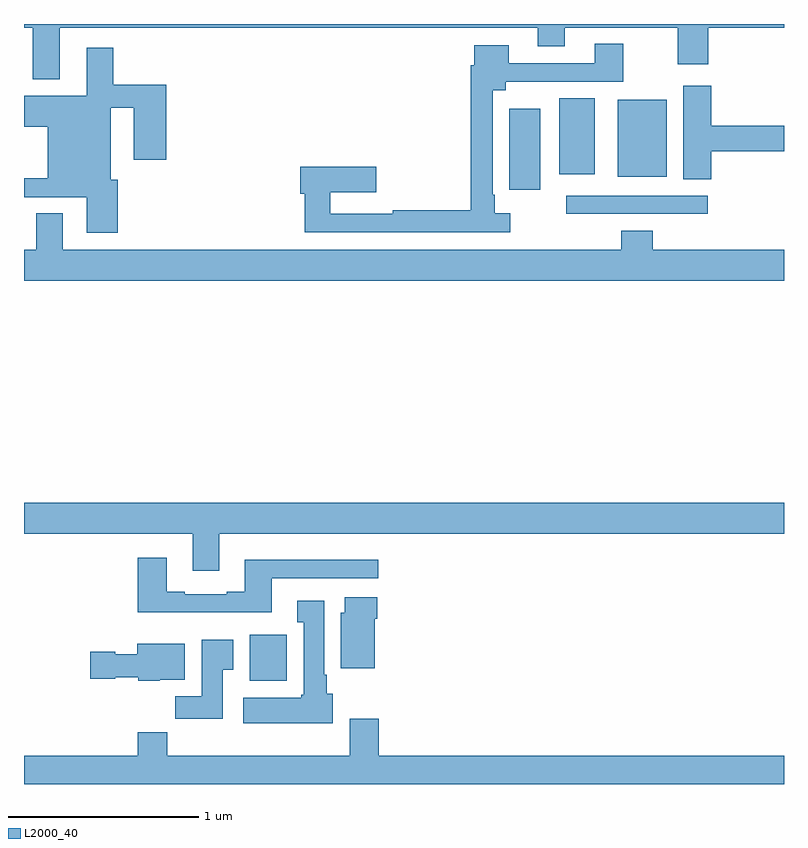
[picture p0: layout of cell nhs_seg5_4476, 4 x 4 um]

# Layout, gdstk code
import gdstk
lib = gdstk.Library(unit=1e-6, precision=1e-09)
def R(c, l, rs):  # rectangles x0, y0, x1, y1
    for r in rs: c.add(gdstk.rectangle(r[:2], r[2:], *l))
def P(c, l, *ps):  # polygons
    for p in ps: c.add(gdstk.Polygon(p, *l))
L2000_40 = (2000, 40)

nhs_seg5_4476 = lib.new_cell('nhs_seg5_4476')
R(nhs_seg5_4476, L2000_40, [(376.187,833.342,376.384,833.584), (377.853,835.8,378.598,835.896), (377.555,835.926,377.716,836.353), (378.125,835.994,378.382,836.401), (377.816,836.009,378.004,836.407)])
P(nhs_seg5_4476, L2000_40, [(375.187,836.78),(377.705,836.78),(377.705,836.681),(377.845,836.681),(377.845,836.78),(378.442,836.78),(378.442,836.586),(378.602,836.586),(378.602,836.78),(379,836.78),(379,836.799),(375,836.799),(375,836.78),(375.047,836.78),(375.047,836.507),(375.187,836.507)],
  [(377.56,835.804),(377.478,835.804),(377.478,835.9),(377.466,835.9),(377.466,836.45),(377.536,836.45),(377.536,836.496),(378.153,836.496),(378.153,836.695),(378.005,836.695),(378.005,836.592),(377.551,836.592),(377.551,836.686),(377.369,836.686),(377.369,836.582),(377.35,836.582),(377.35,835.82),(376.942,835.82),(376.942,835.8),(376.613,835.8),(376.613,835.913),(376.855,835.913),(376.855,836.048),(376.454,836.048),(376.454,835.906),(376.477,835.906),(376.477,835.704),(377.56,835.704)],
  [(375.494,835.98),(375.457,835.98),(375.457,836.358),(375.578,836.358),(375.578,836.085),(375.749,836.085),(375.749,836.479),(375.47,836.479),(375.47,836.674),(375.329,836.674),(375.329,836.422),(375,836.422),(375,836.258),(375.125,836.258),(375.125,835.988),(375,835.988),(375,835.887),(375.329,835.887),(375.329,835.701),(375.494,835.701)],
  [(378.617,836.128),(379,836.128),(379,836.264),(378.617,836.264),(378.617,836.473),(378.47,836.473),(378.47,835.981),(378.617,835.981)],
  [(379,835.612),(378.308,835.612),(378.308,835.711),(378.143,835.711),(378.143,835.612),(375.205,835.612),(375.205,835.802),(375.065,835.802),(375.065,835.612),(375,835.612),(375,835.448),(379,835.448)],
  [(376.027,834.116),(379,834.116),(379,834.28),(375,834.28),(375,834.116),(375.887,834.116),(375.887,833.922),(376.027,833.922)],
  [(376.303,833.883),(376.864,833.883),(376.864,833.98),(376.163,833.98),(376.163,833.812),(376.067,833.812),(376.067,833.799),(375.847,833.799),(375.847,833.812),(375.751,833.812),(375.751,833.989),(375.599,833.989),(375.599,833.702),(376.303,833.702)],
  [(376.846,833.669),(376.859,833.669),(376.859,833.782),(376.688,833.782),(376.688,833.7),(376.667,833.7),(376.667,833.408),(376.846,833.408)],
  [(376.624,833.274),(376.594,833.274),(376.594,833.374),(376.579,833.374),(376.579,833.764),(376.439,833.764),(376.439,833.651),(376.472,833.651),(376.472,833.268),(376.459,833.268),(376.459,833.254),(376.155,833.254),(376.155,833.12),(376.624,833.12)],
  [(376.045,833.401),(376.102,833.401),(376.102,833.557),(375.935,833.557),(375.935,833.26),(375.796,833.26),(375.796,833.142),(376.045,833.142)],
  [(375.714,833.348),(375.847,833.348),(375.847,833.536),(375.596,833.536),(375.596,833.482),(375.48,833.482),(375.48,833.495),(375.348,833.495),(375.348,833.353),(375.48,833.353),(375.48,833.36),(375.6,833.36),(375.6,833.342),(375.714,833.342)],
  [(379,832.948),(376.868,832.948),(376.868,833.143),(376.715,833.143),(376.715,832.948),(375.755,832.948),(375.755,833.072),(375.599,833.072),(375.599,832.948),(375,832.948),(375,832.799),(379,832.799)])

lib.write_gds('nhs_seg5_4476.gds')
